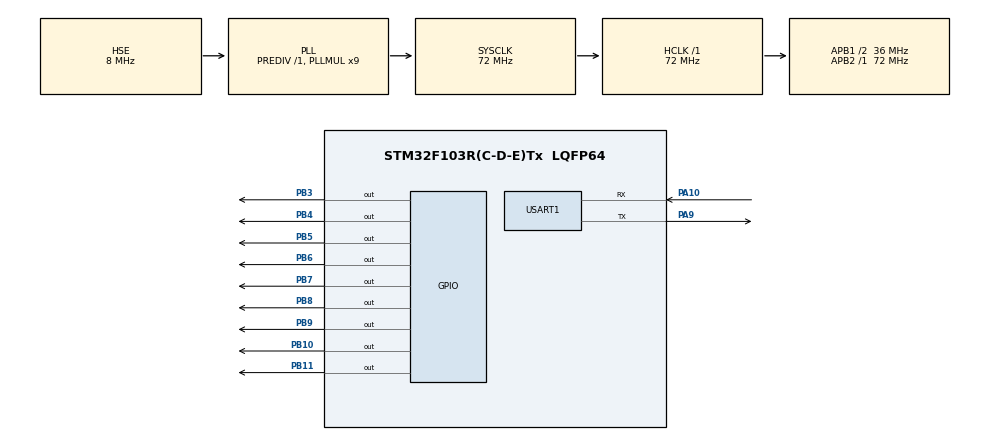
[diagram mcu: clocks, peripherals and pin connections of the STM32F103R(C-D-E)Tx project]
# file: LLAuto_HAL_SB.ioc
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Mcu.Family=STM32F1
Mcu.Name=STM32F103R(C-D-E)Tx
Mcu.Package=LQFP64
NVIC.PriorityGroup=NVIC_PRIORITYGROUP_4
NVIC.USART1_IRQn=true\:0\:0\:false\:false\:true\:true
PA10.Mode=Asynchronous
PA10.Signal=USART1_RX
PA13.Mode=Serial_Wire
PA13.Signal=SYS_JTMS-SWDIO
PA14.Mode=Serial_Wire
PA14.Signal=SYS_JTCK-SWCLK
PA9.Mode=Asynchronous
PA9.Signal=USART1_TX
PB10.PinState=GPIO_PIN_SET
PB10.Signal=GPIO_Output
PB11.PinState=GPIO_PIN_SET
PB11.Signal=GPIO_Output
PB3.PinState=GPIO_PIN_SET
PB3.Signal=GPIO_Output
PB4.PinState=GPIO_PIN_SET
PB4.Signal=GPIO_Output
PB5.PinState=GPIO_PIN_SET
PB5.Signal=GPIO_Output
PB6.PinState=GPIO_PIN_SET
PB6.Signal=GPIO_Output
PB7.PinState=GPIO_PIN_SET
PB7.Signal=GPIO_Output
PB8.PinState=GPIO_PIN_SET
PB8.Signal=GPIO_Output
PB9.PinState=GPIO_PIN_SET
PB9.Signal=GPIO_Output
PD0-OSC_IN.Mode=HSE-External-Oscillator
PD0-OSC_IN.Signal=RCC_OSC_IN
PD1-OSC_OUT.Mode=HSE-External-Oscillator
PD1-OSC_OUT.Signal=RCC_OSC_OUT
ProjectManager.HeapSize=0x200
ProjectManager.StackSize=0x400
ProjectManager.TargetToolchain=MDK-ARM V5
RCC.AHBFreq_Value=72000000
RCC.APB1CLKDivider=RCC_HCLK_DIV2
RCC.APB1Freq_Value=36000000
RCC.APB1TimFreq_Value=72000000
RCC.APB2Freq_Value=72000000
RCC.APB2TimFreq_Value=72000000
RCC.HCLKFreq_Value=72000000
RCC.PLLMUL=RCC_PLL_MUL9
RCC.PLLSourceVirtual=RCC_PLLSOURCE_HSE
RCC.SYSCLKFreq_VALUE=72000000
RCC.SYSCLKSource=RCC_SYSCLKSOURCE_PLLCLK
RCC.USBFreq_Value=72000000
USART1.VirtualMode=VM_ASYNC
board=LLAuto_HAL_SB

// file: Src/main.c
/**
  ******************************************************************************
  * @file           : main.c
  * @brief          : Main program body
  ******************************************************************************
  ** This notice applies to any and all portions of this file
  * that are not between comment pairs USER CODE BEGIN and
  * USER CODE END. Other portions of this file, whether
  * inserted by the user or by software development tools
  * are owned by their respective copyright owners.
  *
  * COPYRIGHT(c) 2018 STMicroelectronics
  *
  * Redistribution and use in source and binary forms, with or without modification,
  * are permitted provided that the following conditions are met:
  *   1. Redistributions of source code must retain the above copyright notice,
  *      this list of conditions and the following disclaimer.
  *   2. Redistributions in binary form must reproduce the above copyright notice,
  *      this list of conditions and the following disclaimer in the documentation
  *      and/or other materials provided with the distribution.
  *   3. Neither the name of STMicroelectronics nor the names of its contributors
  *      may be used to endorse or promote products derived from this software
  *      without specific prior written permission.
  *
  * THIS SOFTWARE IS PROVIDED BY THE COPYRIGHT HOLDERS AND CONTRIBUTORS "AS IS"
  * AND ANY EXPRESS OR IMPLIED WARRANTIES, INCLUDING, BUT NOT LIMITED TO, THE
  * IMPLIED WARRANTIES OF MERCHANTABILITY AND FITNESS FOR A PARTICULAR PURPOSE ARE
  * DISCLAIMED. IN NO EVENT SHALL THE COPYRIGHT HOLDER OR CONTRIBUTORS BE LIABLE
  * FOR ANY DIRECT, INDIRECT, INCIDENTAL, SPECIAL, EXEMPLARY, OR CONSEQUENTIAL
  * DAMAGES (INCLUDING, BUT NOT LIMITED TO, PROCUREMENT OF SUBSTITUTE GOODS OR
  * SERVICES; LOSS OF USE, DATA, OR PROFITS; OR BUSINESS INTERRUPTION) HOWEVER
  * CAUSED AND ON ANY THEORY OF LIABILITY, WHETHER IN CONTRACT, STRICT LIABILITY,
  * OR TORT (INCLUDING NEGLIGENCE OR OTHERWISE) ARISING IN ANY WAY OUT OF THE USE
  * OF THIS SOFTWARE, EVEN IF ADVISED OF THE POSSIBILITY OF SUCH DAMAGE.
  *
  ******************************************************************************
  */
#include "main.h"
#include "stm32f1xx_hal.h"

UART_HandleTypeDef huart1;

/* USER CODE BEGIN PV */
/* Private variables ---------------------------------------------------------*/
uint16_t GPIO_p[9] = {GPIO_PIN_3, GPIO_PIN_4, GPIO_PIN_5,  GPIO_PIN_6,\
                      GPIO_PIN_7, GPIO_PIN_8, GPIO_PIN_9, GPIO_PIN_10, GPIO_PIN_11};
uint8_t press_b[6]={"A0000A"};
uint8_t aTxStartMessages[] = "\r\n******UART commucition using IT******\r\nProgramStarted\n";
uint16_t now0 = 0,now1 = 0;
/* USER CODE END PV */

void SystemClock_Config(void);
static void MX_GPIO_Init(void);
static void MX_USART1_UART_Init(void);

/* USER CODE BEGIN PFP */
/* Private function prototypes -----------------------------------------------*/

/* USER CODE END PFP */

int main(void)
{

  /* MCU Configuration----------------------------------------------------------*/

  /* Reset of all peripherals, Initializes the Flash interface and the Systick. */
  HAL_Init();

  /* Configure the system clock */
  SystemClock_Config();

  /* Initialize all configured peripherals */
  MX_GPIO_Init();
  MX_USART1_UART_Init();
  /* USER CODE BEGIN 2 */
	HAL_GPIO_WritePin(GPIOB,GPIO_PIN_All,GPIO_PIN_SET);
	HAL_UART_Receive_IT(&huart1,press_b,sizeof(press_b));
	HAL_UART_Transmit(&huart1 ,(uint8_t*)aTxStartMessages,sizeof(aTxStartMessages),0x3F3F3F3F);
  /* USER CODE END 2 */

  /* Infinite loop */
  while (1)
  {

  }

}

void SystemClock_Config(void)
{

  RCC_OscInitTypeDef RCC_OscInitStruct;
  RCC_ClkInitTypeDef RCC_ClkInitStruct;

    /**Initializes the CPU, AHB and APB busses clocks
    */
  RCC_OscInitStruct.OscillatorType = RCC_OSCILLATORTYPE_HSE;
  RCC_OscInitStruct.HSEState = RCC_HSE_ON;
  RCC_OscInitStruct.HSEPredivValue = RCC_HSE_PREDIV_DIV1;
  RCC_OscInitStruct.HSIState = RCC_HSI_ON;
  RCC_OscInitStruct.PLL.PLLState = RCC_PLL_ON;
  RCC_OscInitStruct.PLL.PLLSource = RCC_PLLSOURCE_HSE;
  RCC_OscInitStruct.PLL.PLLMUL = RCC_PLL_MUL9;
  if (HAL_RCC_OscConfig(&RCC_OscInitStruct) != HAL_OK)
  {
    _Error_Handler(__FILE__, __LINE__);
  }

    /**Initializes the CPU, AHB and APB busses clocks
    */
  RCC_ClkInitStruct.ClockType = RCC_CLOCKTYPE_HCLK|RCC_CLOCKTYPE_SYSCLK
                              |RCC_CLOCKTYPE_PCLK1|RCC_CLOCKTYPE_PCLK2;
  RCC_ClkInitStruct.SYSCLKSource = RCC_SYSCLKSOURCE_PLLCLK;
  RCC_ClkInitStruct.AHBCLKDivider = RCC_SYSCLK_DIV1;
  RCC_ClkInitStruct.APB1CLKDivider = RCC_HCLK_DIV2;
  RCC_ClkInitStruct.APB2CLKDivider = RCC_HCLK_DIV1;

  if (HAL_RCC_ClockConfig(&RCC_ClkInitStruct, FLASH_LATENCY_2) != HAL_OK)
  {
    _Error_Handler(__FILE__, __LINE__);
  }

    /**Configure the Systick interrupt time
    */
  HAL_SYSTICK_Config(HAL_RCC_GetHCLKFreq()/1000);

    /**Configure the Systick
    */
  HAL_SYSTICK_CLKSourceConfig(SYSTICK_CLKSOURCE_HCLK);

  /* SysTick_IRQn interrupt configuration */
  HAL_NVIC_SetPriority(SysTick_IRQn, 0, 0);
}

/* USART1 init function */
static void MX_USART1_UART_Init(void)
{

  huart1.Instance = USART1;
  huart1.Init.BaudRate = 115200;
  huart1.Init.WordLength = UART_WORDLENGTH_8B;
  huart1.Init.StopBits = UART_STOPBITS_1;
  huart1.Init.Parity = UART_PARITY_NONE;
  huart1.Init.Mode = UART_MODE_TX_RX;
  huart1.Init.HwFlowCtl = UART_HWCONTROL_NONE;
  huart1.Init.OverSampling = UART_OVERSAMPLING_16;
  if (HAL_UART_Init(&huart1) != HAL_OK)
  {
    _Error_Handler(__FILE__, __LINE__);
  }

}

/** Configure pins as
        * Analog
        * Input
        * Output
        * EVENT_OUT
        * EXTI
*/
static void MX_GPIO_Init(void)
{

  GPIO_InitTypeDef GPIO_InitStruct;

  /* GPIO Ports Clock Enable */
  __HAL_RCC_GPIOD_CLK_ENABLE();
  __HAL_RCC_GPIOB_CLK_ENABLE();
  __HAL_RCC_GPIOA_CLK_ENABLE();

  /*Configure GPIO pin Output Level */
  HAL_GPIO_WritePin(GPIOB, GPIO_PIN_10|GPIO_PIN_11|GPIO_PIN_3|GPIO_PIN_4
                          |GPIO_PIN_5|GPIO_PIN_6|GPIO_PIN_7|GPIO_PIN_8
                          |GPIO_PIN_9, GPIO_PIN_SET);

  /*Configure GPIO pins : PB10 PB11 PB3 PB4
                           PB5 PB6 PB7 PB8
                           PB9 */
  GPIO_InitStruct.Pin = GPIO_PIN_10|GPIO_PIN_11|GPIO_PIN_3|GPIO_PIN_4
                          |GPIO_PIN_5|GPIO_PIN_6|GPIO_PIN_7|GPIO_PIN_8
                          |GPIO_PIN_9;
  GPIO_InitStruct.Mode = GPIO_MODE_OUTPUT_PP;
  GPIO_InitStruct.Speed = GPIO_SPEED_FREQ_LOW;
  HAL_GPIO_Init(GPIOB, &GPIO_InitStruct);

}

/* USER CODE BEGIN 4 */
void HAL_UART_RxCpltCallback(UART_HandleTypeDef *huart)
{
	if(press_b[5] !='A' || press_b[0] != 'A'){
		HAL_UART_Receive_IT(&huart1,press_b,sizeof(press_b));
	}
	else{
		now0 = press_b[2] | press_b[1]<<8;
		now1 = press_b[4] | press_b[3]<<8;

				#ifdef DEBUG
				uint8_t temp_t[17] = {'0'};
				for(int i = 0 ; i < 16 ; i++){
					if(now1 & 1<<i){
						temp_t[i] = '1';
					}
					else{
						temp_t[i] = '0';
					}
				}
				temp_t[16] = '\n';
				HAL_UART_Transmit_IT(&huart1,temp_t,sizeof(temp_t));
		#endif

		for(unsigned int i = 0 ; i < 9 ; i++){
			if((now0 & 1<<i )){
				if((now1 & 1<<i )){
					GPIO_PinState st_t = HAL_GPIO_ReadPin(GPIOB, GPIO_p[i])?GPIO_PIN_RESET:GPIO_PIN_SET;
        	HAL_GPIO_WritePin(GPIOB, GPIO_p[i],st_t);
				}
				else{
					HAL_GPIO_WritePin(GPIOB, GPIO_p[i], GPIO_PIN_RESET);
				}
			}
		}

		//GPIOB->ODR |= (~(now0)<<3);
		#ifdef DEBUG
				for(int i = 0 ; i < 16 ; i++){
					if(now1 & 1<<i){
						temp_t[i] = '1';
					}
					else{
						temp_t[i] = '0';
					}
				}
				temp_t[16] = '\n';
				HAL_UART_Transmit_IT(&huart1,temp_t,sizeof(temp_t));
		#endif

		int i =8000;
		while(i--);

		for(unsigned int i = 0 ; i < 9 ; i++){
			if((now0 & 1<<i) && !(now1 & 1<<i)){
				HAL_GPIO_WritePin(GPIOB, GPIO_p[i], GPIO_PIN_SET);
			}
		}

			#ifdef DEBUG
				for(int i = 0 ; i < 16 ; i++){
					if(now1 & 1<<i){
						temp_t[i] = '1';
					}
					else{
						temp_t[i] = '0';
					}
				}
				temp_t[16] = '\n';
				HAL_UART_Transmit_IT(&huart1,temp_t,sizeof(temp_t));
		#endif

		HAL_UART_Receive_IT(&huart1,press_b,sizeof(press_b));
	}
}
/* USER CODE END 4 */

void _Error_Handler(char *file, int line)
{
  while(1)
  {
  }
}

/************************ (C) COPYRIGHT STMicroelectronics *****END OF FILE****/
